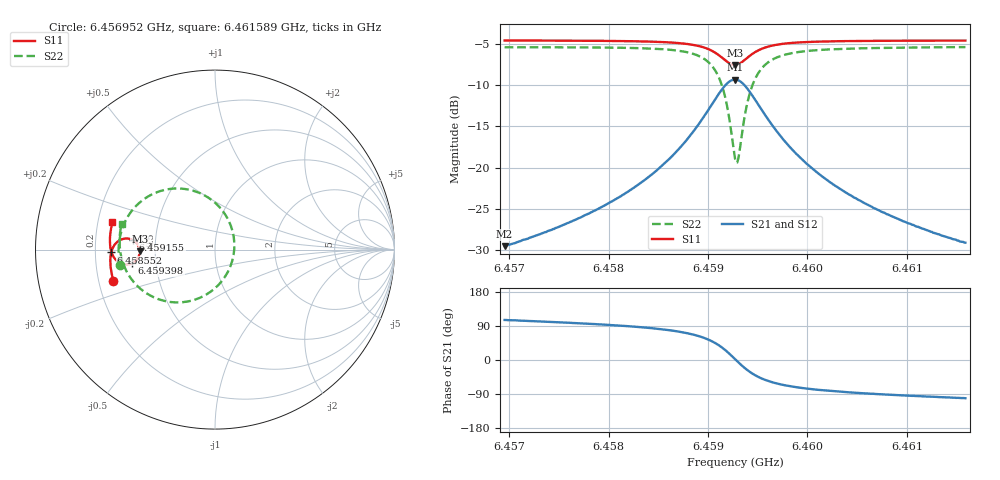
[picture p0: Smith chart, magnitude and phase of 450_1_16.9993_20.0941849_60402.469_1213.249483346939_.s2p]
#  HZ  S  RI  R  50.00
! Rohde & Schwarz Vector Network Analyzer
! Rohde-Schwarz,ZNB20-2Port,1311601062101988,3.16
! Created: UTC 3/20/2024, 11:12:13 PM
! freq[Hz]  re:S11  im:S11  re:S21  im:S21  re:S12  im:S12  re:S22  im:S22
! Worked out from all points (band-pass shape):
!   401 points, 6.456952 GHz to 6.461589 GHz, reference 50 ohm
!   highest |S21| = -9.30 dB at 6.459271 GHz (marker M1); lowest = -29.5 dB at 6.456952 GHz (marker M2)
!   |S21| within 3 dB of the highest: 6.459039 GHz to 6.459503 GHz (463.7 kHz wide, 0.00718 % of centre)
!   lowest |S11| = -7.5 dB at 6.459271 GHz (marker M3), VSWR 2.45, Z = 20.4 - j0.521 ohm
!   |S11| at or under -10 dB: nowhere
!   |S22| runs from -19.4 to -5.4 dB; largest |S21 - S12| = 0.013
!   S11 on the Smith chart (normalised r, x): 6.456952 GHz: 0.26, -0.14; 6.458552 GHz: 0.27, -0.01; 6.459155 GHz: 0.37, +0.05; 6.459398 GHz: 0.37, -0.07; 6.461589 GHz: 0.26, +0.12
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6.4569524e9  -0.5661 -0.1741  -0.00899 0.0321  -0.00719 0.0321  -0.5314 -0.0868
6.457729e9  -0.5804 -0.1063  -0.00578 0.0499  -0.00326 0.0494  -0.5373 0.00336
6.4581347e9  -0.5835 -0.0659  -0.000329 0.068  0.0029 0.0667  -0.5303 0.0666
6.4585056e9  -0.5798 -0.0221  0.0137 0.0979  0.0178 0.0953  -0.5044 0.1484
6.458552e9  -0.5784 -0.0158  0.0171 0.1034  0.0212 0.1004  -0.4981 0.1614
6.4587606e9  -0.5663 0.0158  0.0431 0.1348  0.0472 0.1301  -0.4496 0.2328
6.4589113e9  -0.5452 0.0421  0.0854 0.1649  0.0888 0.1584  -0.3714 0.2967
6.459062e9  -0.4994 0.0618  0.1767 0.1839  0.1776 0.1765  -0.2047 0.3405
6.4591547e9  -0.4552 0.0519  0.266 0.1531  0.2662 0.1471  -0.0393 0.2909
6.4592011e9  -0.4342 0.0332  0.3094 0.1105  0.3106 0.1053  0.0429 0.2152
6.4592706e9  -0.4195 -0.0105  0.3424 0.0144  0.3459 0.00751  0.1075 0.0369
6.4592938e9  -0.4212 -0.0264  0.3403 -0.0205  0.3442 -0.0289  0.1035 -0.0294
6.4593054e9  -0.4234 -0.0339  0.3367 -0.0377  0.3405 -0.0467  0.0965 -0.0617
6.4593518e9  -0.4388 -0.0597  0.3086 -0.097  0.3106 -0.1088  0.0394 -0.174
6.4593981e9  -0.4607 -0.0759  0.2669 -0.1378  0.266 -0.1508  -0.045 -0.2482
6.4594909e9  -0.5037 -0.0826  0.1827 -0.1689  0.1766 -0.1802  -0.2125 -0.2942
6.4596415e9  -0.5471 -0.0621  0.0955 -0.1552  0.0872 -0.1613  -0.3786 -0.2452
6.4598038e9  -0.5686 -0.0344  0.0511 -0.1276  0.0435 -0.1303  -0.4586 -0.1737
6.4600472e9  -0.581 0.00115  0.0221 -0.0964  0.0162 -0.097  -0.5061 -0.0918
6.4604065e9  -0.5855 0.0434  0.00588 -0.0691  0.00192 -0.0686  -0.5279 -0.0107
6.4608238e9  -0.5836 0.085  -0.00143 -0.0514  -0.00427 -0.0505  -0.5317 0.0552
6.4615888e9  -0.5712 0.1527  -0.00657 -0.0344  -0.00816 -0.0333  -0.5201 0.145
